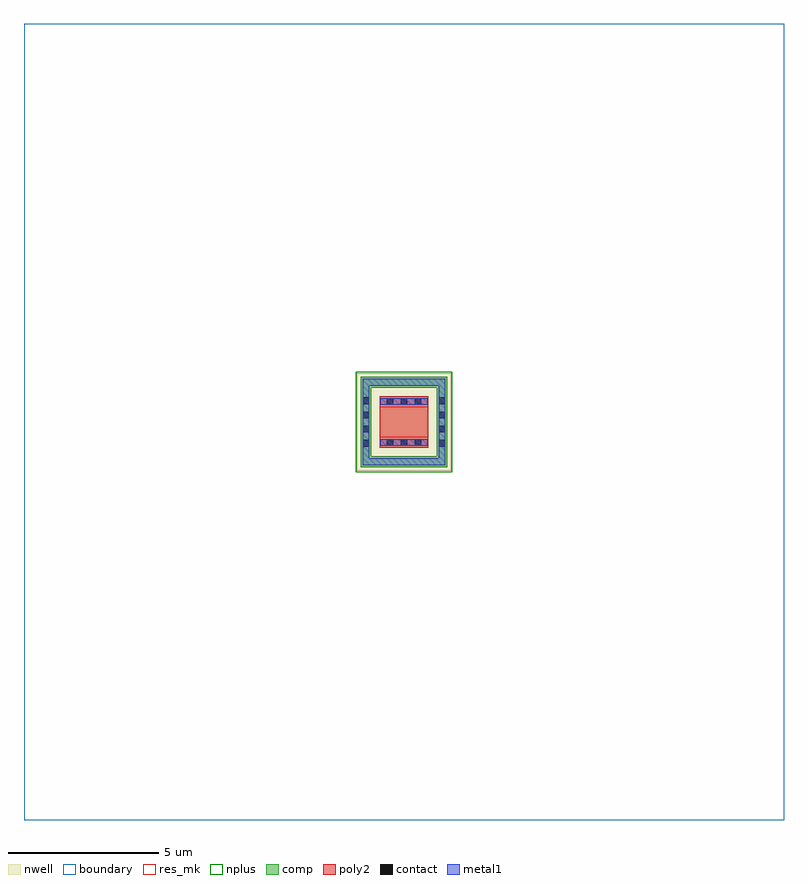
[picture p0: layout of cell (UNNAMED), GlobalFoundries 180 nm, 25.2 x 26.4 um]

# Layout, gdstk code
import gdstk
lib = gdstk.Library(unit=1e-6, precision=1e-09)
def R(c, l, rs):  # rectangles x0, y0, x1, y1
    for r in rs: c.add(gdstk.rectangle(r[:2], r[2:], *l))
def A(c, l, x, y, w, h, nx, ny, dx, dy):  # array of equal rectangles
    R(c, l, [(x+i*dx, y+j*dy, x+i*dx+w, y+j*dy+h) for i in range(nx) for j in range(ny)])
boundary = (0, 0)
nwell = (21, 0)
comp = (22, 0)
poly2 = (30, 0)
nplus = (32, 0)
contact = (33, 0)
metal1 = (34, 0)
res_mk = (110, 5)

c__unnamed_ = lib.new_cell('(UNNAMED)')
R(c__unnamed_, boundary, [(-12.6,-13.2,12.6,13.2)])
R(c__unnamed_, nwell, [(-1.56,-1.62,1.56,1.62)])
R(c__unnamed_, comp, [(-1.44,-1.5,1.44,-1.14), (-1.44,-1.14,-1.08,1.14), (1.08,-1.14,1.44,1.14), (-1.44,1.14,1.44,1.5)])
R(c__unnamed_, poly2, [(-0.8,-0.86,0.8,0.86)])
R(c__unnamed_, nplus, [(-1.6,-1.66,1.6,-1.03), (-0.98,-1.04,0.98,1.04), (-1.6,-1.03,-0.97,1.03), (0.97,-1.03,1.6,1.03), (-1.6,1.03,1.6,1.66)])
A(c__unnamed_, contact, -1.37, -0.815, 0.22, 0.22, 1, 4, 0, 0.47)
A(c__unnamed_, contact, 1.15, -0.815, 0.22, 0.22, 1, 4, 0, 0.47)
A(c__unnamed_, contact, -0.58, -0.79, 0.22, 0.22, 3, 2, 0.47, 1.36)
R(c__unnamed_, metal1, [(-1.375,-1.435,1.375,-1.205), (-1.375,-1.205,-1.145,1.205), (1.145,-1.205,1.375,1.205), (-0.79,-0.795,0.79,-0.565), (-0.79,0.565,0.79,0.795), (-1.375,1.205,1.375,1.435)])
R(c__unnamed_, res_mk, [(-0.8,-0.5,0.8,0.5)])

lib.write_gds('_UNNAMED_.gds')
